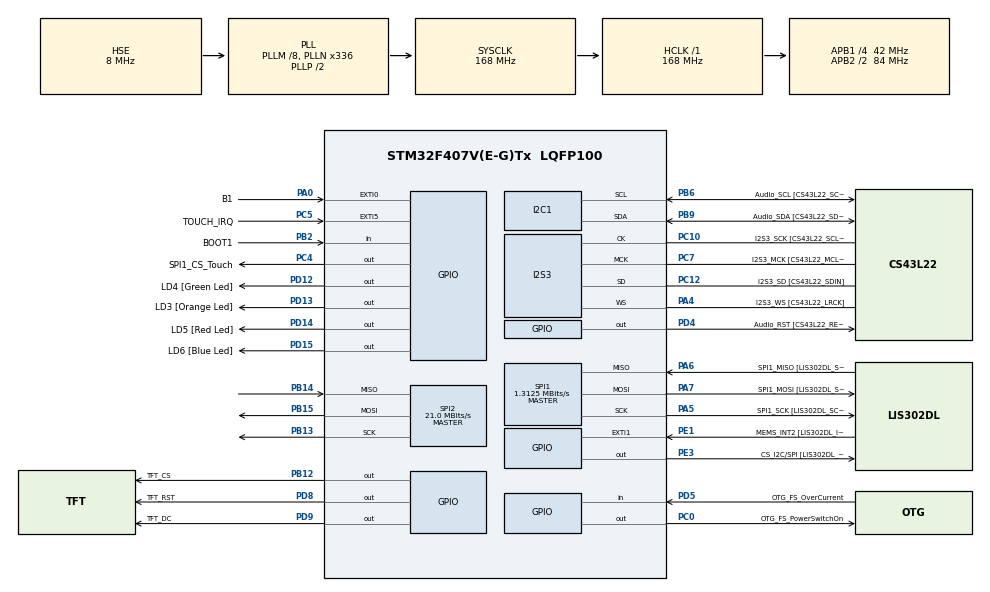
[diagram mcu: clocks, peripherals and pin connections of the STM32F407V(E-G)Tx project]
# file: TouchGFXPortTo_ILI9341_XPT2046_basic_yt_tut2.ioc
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PA11.GPIO_Speed=GPIO_SPEED_FREQ_LOW
PD12.GPIO_Label=LD4 [Green Led]
PH0-OSC_IN.Signal=RCC_OSC_IN
PC10.GPIO_PuPd=GPIO_NOPULL
SPI1.VirtualType=VM_MASTER
PB10.GPIO_PuPd=GPIO_NOPULL
SPI2.VirtualType=VM_MASTER
PA10.GPIO_PuPd=GPIO_NOPULL
PC12.Signal=I2S3_SD
PA14.GPIO_Label=SWCLK
PA6.GPIO_Label=SPI1_MISO [LIS302DL_SDO]
PB6.GPIO_Label=Audio_SCL [CS43L22_SCL]
PB13.Signal=SPI2_SCK
PC15-OSC32_OUT.GPIO_Label=PC15-OSC32_OUT
Dma.SPI2_TX.0.Instance=DMA1_Stream4
PC3.GPIO_Speed=GPIO_SPEED_FREQ_LOW
RCC.SYSCLKSource=RCC_SYSCLKSOURCE_PLLCLK
PA6.GPIO_Mode=GPIO_MODE_AF_PP
PD14.GPIO_Speed=GPIO_SPEED_FREQ_LOW
PA4.Mode=Half_Duplex_Master
SPI1.Direction=SPI_DIRECTION_2LINES
I2S3.AudioFreq-Half_Duplex_Master=I2S_AUDIOFREQ_96K
PD4.Signal=GPIO_Output
RCC.APB2TimFreq_Value=168000000
PB6.Signal=I2C1_SCL
PC7.Signal=I2S3_MCK
PB6.Mode=I2C
SPI1.CalculateBaudRate=1.3125 MBits/s
PC3.Signal=I2S2_SD
PD8.Signal=GPIO_Output
PE1.Signal=GPXTI1
PB2.Signal=GPIO_Input
PB12.GPIO_Label=TFT_CS
I2S3.ErrorAudioFreq=-2.34 %
PC4.GPIO_Label=SPI1_CS_Touch
PB14.Mode=Full_Duplex_Master
PA5.GPIO_PuPd=GPIO_NOPULL
I2S3.ErrorAudioFreq-Half_Duplex_Master=0.8 %
NVIC.TIM2_IRQn=true\:0\:0\:false\:false\:true\:true\:true
SPI2.CalculateBaudRate=21.0 MBits/s
PD5.GPIO_Mode=GPIO_MODE_INPUT
PD14.GPIO_PuPd=GPIO_NOPULL
PB2.GPIO_PuPd=GPIO_NOPULL
SPI1.CalculateBaudRate-Full_Duplex_Master=42.0 MBits/s
Mcu.Package=LQFP100
PB9.Signal=I2C1_SDA
TIM2.Prescaler=41999
SPI2.Mode=SPI_MODE_MASTER
PD12.Signal=GPIO_Output
STMicroelectronics.X-CUBE-TOUCHGFX.4.16.1.ApplicationCcGraphicsJjApplication=TouchGFXOoGenerator
PA10.Signal=USB_OTG_FS_ID
PB9.GPIO_PuPd=GPIO_NOPULL
Dma.SPI2_TX.0.PeriphInc=DMA_PINC_DISABLE
RCC.APB2CLKDivider=RCC_HCLK_DIV2
RCC.APB1TimFreq_Value=84000000
PB13.Mode=Full_Duplex_Master
PC12.GPIO_PuPd=GPIO_NOPULL
PA6.GPIO_Speed=GPIO_SPEED_FREQ_LOW
PA12.GPIO_PuPd=GPIO_NOPULL
PA4.GPIO_Label=I2S3_WS [CS43L22_LRCK]
PD15.Signal=GPIO_Output
PC0.PinState=GPIO_PIN_SET
STMicroelectronics.X-CUBE-TOUCHGFX.4.16.1.tgfx_block_size=25600
PA5.Mode=Full_Duplex_Master
VP_STMicroelectronics.X-CUBE-TOUCHGFX_VS_GraphicsJjApplication_4.16.1.Mode=GraphicsJjApplication
STMicroelectronics.X-CUBE-TOUCHGFX.4.16.1.tgfx_custom_height=240
I2S3.FullDuplexMode=I2S_FULLDUPLEXMODE_DISABLE
PD9.GPIO_Label=TFT_DC
PC4.PinState=GPIO_PIN_SET
PA9.GPIO_Label=VBUS_FS
PB6.GPIO_PuPd=GPIO_NOPULL
PA11.GPIO_Label=OTG_FS_DM
PE1.GPIO_PuPd=GPIO_NOPULL
PC0.Signal=GPIO_Output
RCC.APB1CLKDivider=RCC_HCLK_DIV4
PC14-OSC32_IN.Signal=RCC_OSC32_IN
PA0-WKUP.GPIO_Label=B1
PA0-WKUP.Signal=GPXTI0
PC10.GPIO_Mode=GPIO_MODE_AF_PP
PB10.GPIO_Mode=GPIO_MODE_AF_PP
PA9.Signal=USB_OTG_FS_VBUS
I2S3.VirtualMode=I2S_MODE_MASTER
PC7.GPIO_PuPd=GPIO_NOPULL
PC5.GPIO_ModeDefaultEXTI=GPIO_MODE_IT_FALLING
PB10.Signal=I2S2_CK
PB14.Signal=SPI2_MISO
PA5.Signal=SPI1_SCK
PC12.Mode=Half_Duplex_Master
PE1.GPIO_Label=MEMS_INT2 [LIS302DL_INT2]
PA7.GPIO_Speed=GPIO_SPEED_FREQ_LOW
PB2.GPIO_Mode=GPIO_MODE_INPUT
SPI1.Mode=SPI_MODE_MASTER
PD4.GPIO_Speed=GPIO_SPEED_FREQ_LOW
PE3.GPIO_PuPd=GPIO_NOPULL
PH1-OSC_OUT.GPIO_Label=PH1-OSC_OUT
TIM2.Period=15
PA13.Mode=Serial_Wire
Dma.SPI2_TX.0.FIFOMode=DMA_FIFOMODE_DISABLE
PC7.GPIO_Label=I2S3_MCK [CS43L22_MCLK]
PA4.Signal=I2S3_WS
PC12.GPIO_Mode=GPIO_MODE_AF_PP
PA5.GPIO_Label=SPI1_SCK [LIS302DL_SCL/SPC]
PE3.GPIO_Speed=GPIO_SPEED_FREQ_LOW
PC12.GPIO_Label=I2S3_SD [CS43L22_SDIN]
PA11.Signal=USB_OTG_FS_DM
ProjectManager.HeapSize=0x200
NVIC.PriorityGroup=NVIC_PRIORITYGROUP_0
PE3.Signal=GPIO_Output
PC3.GPIO_Label=PDM_OUT [MP45DT02_DOUT]
I2S3.Instance=SPI$Index
PB6.GPIO_Speed=GPIO_SPEED_FREQ_LOW
SPI1.BaudRatePrescaler-Full_Duplex_Master=SPI_BAUDRATEPRESCALER_2
Mcu.Family=STM32F4
PC3.GPIO_Mode=GPIO_MODE_AF_PP
PA6.Mode=Full_Duplex_Master
Dma.SPI2_TX.0.MemInc=DMA_MINC_ENABLE
RCC.CortexFreq_Value=168000000
PB10.GPIO_Speed=GPIO_SPEED_FREQ_LOW
PB6.GPIO_Mode=GPIO_MODE_AF_OD
STMicroelectronics.X-CUBE-TOUCHGFX.4.16.1.tgfx_buffering_strategy=Partial
PD15.GPIO_Speed=GPIO_SPEED_FREQ_LOW
PC10.Signal=I2S3_CK
PA7.GPIO_Mode=GPIO_MODE_AF_PP
PC0.GPIO_Label=OTG_FS_PowerSwitchOn
PC10.GPIO_Speed=GPIO_SPEED_FREQ_LOW
PA11.GPIO_PuPd=GPIO_NOPULL
NVIC.DMA1_Stream4_IRQn=true\:0\:0\:false\:false\:true\:false\:true
PB15.Signal=SPI2_MOSI
ProjectManager.StackSize=0x400
SPI1.Mode-Full_Duplex_Master=SPI_MODE_MASTER
Dma.SPI2_TX.0.MemDataAlignment=DMA_MDATAALIGN_BYTE
PD13.Signal=GPIO_Output
PA12.Signal=USB_OTG_FS_DP
RCC.HCLKFreq_Value=168000000
Dma.SPI2_TX.0.Mode=DMA_NORMAL
RCC.AHBFreq_Value=168000000
PH0-OSC_IN.Mode=HSE-External-Oscillator
PE3.PinState=GPIO_PIN_SET
PH0-OSC_IN.GPIO_Label=PH0-OSC_IN
PA9.GPIO_Mode=GPIO_MODE_INPUT
RCC.HSE_VALUE=8000000
PA4.GPIO_PuPd=GPIO_NOPULL
PA4.GPIO_Speed=GPIO_SPEED_FREQ_LOW
PA6.GPIO_PuPd=GPIO_NOPULL
PC14-OSC32_IN.Mode=LSE-External-Oscillator
PA14.Mode=Serial_Wire
PA10.GPIO_Label=OTG_FS_ID
PC7.GPIO_Mode=GPIO_MODE_AF_PP
PH1-OSC_OUT.Mode=HSE-External-Oscillator
PD13.GPIO_Label=LD3 [Orange Led]
PA6.Signal=SPI1_MISO
PD5.GPIO_Label=OTG_FS_OverCurrent
PD15.GPIO_PuPd=GPIO_NOPULL
PA10.GPIO_Speed=GPIO_SPEED_FREQ_LOW
PB9.GPIO_Speed=GPIO_SPEED_FREQ_LOW
PC14-OSC32_IN.GPIO_Label=PC14-OSC32_IN
SPI2.Direction=SPI_DIRECTION_2LINES
PC5.Signal=GPXTI5
PC0.GPIO_PuPd=GPIO_NOPULL
Dma.Request0=SPI2_TX
SPI1.BaudRatePrescaler=SPI_BAUDRATEPRESCALER_64
PA12.GPIO_Speed=GPIO_SPEED_FREQ_LOW
PB3.GPIO_Label=SWO
RCC.PLLSourceVirtual=RCC_PLLSOURCE_HSE
PC15-OSC32_OUT.Mode=LSE-External-Oscillator
PD12.GPIO_Speed=GPIO_SPEED_FREQ_LOW
PD15.GPIO_Label=LD6 [Blue Led]
PA7.Mode=Full_Duplex_Master
PB9.GPIO_Label=Audio_SDA [CS43L22_SDA]
PC10.GPIO_Label=I2S3_SCK [CS43L22_SCLK]
PC4.Signal=GPIO_Output
PC10.Mode=Half_Duplex_Master
PD9.Signal=GPIO_Output
PD5.Signal=GPIO_Input
PE1.GPIO_ModeDefaultEXTI=GPIO_MODE_EVT_RISING
PA9.GPIO_PuPd=GPIO_NOPULL
PA12.GPIO_Label=OTG_FS_DP
PD8.GPIO_Label=TFT_RST
PA10.GPIO_Mode=GPIO_MODE_AF_PP
STMicroelectronics.X-CUBE-TOUCHGFX.4.16.1.tgfx_custom_width=320
PA13.Signal=SYS_JTMS-SWDIO
PD4.GPIO_PuPd=GPIO_NOPULL
PC0.GPIO_Speed=GPIO_SPEED_FREQ_LOW
I2S3.RealAudioFreq-Half_Duplex_Master=96.774 KHz
ProjectManager.TargetToolchain=STM32CubeIDE
PB10.GPIO_Label=CLK_IN [MP45DT02_CLK]
PB9.Mode=I2C
PC15-OSC32_OUT.Signal=RCC_OSC32_OUT
PA7.GPIO_PuPd=GPIO_NOPULL
board=STM32F407G-DISC1
PD13.GPIO_Speed=GPIO_SPEED_FREQ_LOW
PC7.GPIO_Speed=GPIO_SPEED_FREQ_LOW
RCC.VCOOutputFreq_Value=336000000
PB15.Mode=Full_Duplex_Master
PB9.GPIO_Mode=GPIO_MODE_AF_OD
PA12.GPIO_Mode=GPIO_MODE_AF_PP
PA4.GPIO_Mode=GPIO_MODE_AF_PP
RCC.APB2Freq_Value=84000000
VP_TIM2_VS_ClockSourceINT.Mode=Internal
PD4.GPIO_Label=Audio_RST [CS43L22_RESET]
Dma.SPI2_TX.0.PeriphDataAlignment=DMA_PDATAALIGN_BYTE
PH1-OSC_OUT.Signal=RCC_OSC_OUT
PD13.GPIO_PuPd=GPIO_NOPULL
PD5.GPIO_PuPd=GPIO_NOPULL
PD14.GPIO_Label=LD5 [Red Led]
Mcu.Name=STM32F407V(E-G)Tx
PA13.GPIO_Label=SWDIO
PD14.Signal=GPIO_Output
RCC.48MHZClocksFreq_Value=48000000
PB3.Signal=SYS_JTDO-SWO
NVIC.EXTI0_IRQn=true\:0\:0\:false\:false\:true\:true\:true
Dma.SPI2_TX.0.Priority=DMA_PRIORITY_LOW
RCC.SYSCLKFreq_VALUE=168000000
PA7.GPIO_Label=SPI1_MOSI [LIS302DL_SDA/SDI/SDO]
PC5.GPIO_Label=TOUCH_IRQ
NVIC.EXTI9_5_IRQn=true\:0\:0\:false\:false\:true\:true\:true
PA14.Signal=SYS_JTCK-SWCLK
PB2.GPIO_Label=BOOT1
RCC.HSI_VALUE=16000000
PA5.GPIO_Speed=GPIO_SPEED_FREQ_LOW
RCC.PLLQ=7
I2S3.RealAudioFreq=93.75 KHz
RCC.PLLM=8
RCC.PLLN=336
PE3.GPIO_Label=CS_I2C/SPI [LIS302DL_CS_I2C/SPI]
PC7.Mode=Master_Clock_Activated
PA11.GPIO_Mode=GPIO_MODE_AF_PP
Dma.SPI2_TX.0.Direction=DMA_MEMORY_TO_PERIPH
RCC.APB1Freq_Value=42000000
PA5.GPIO_Mode=GPIO_MODE_AF_PP
PC12.GPIO_Speed=GPIO_SPEED_FREQ_LOW
VP_CRC_VS_CRC.Mode=CRC_Activate
PB12.Signal=GPIO_Output
PC3.GPIO_PuPd=GPIO_NOPULL
PD12.GPIO_PuPd=GPIO_NOPULL
PA7.Signal=SPI1_MOSI

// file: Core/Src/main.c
/* USER CODE BEGIN Header */
/**
  ******************************************************************************
  * @file           : main.c
  * @brief          : Main program body
  ******************************************************************************
  * @attention
  *
  * <h2><center>&copy; Copyright (c) 2021 STMicroelectronics.
  * All rights reserved.</center></h2>
  *
  * This software component is licensed by ST under Ultimate Liberty license
  * SLA0044, the "License"; You may not use this file except in compliance with
  * the License. You may obtain a copy of the License at:
  *                             www.st.com/SLA0044
  *
  ******************************************************************************
  */
/* USER CODE END Header */
#include "main.h"
#include "crc.h"
#include "dma.h"
#include "i2c.h"
#include "i2s.h"
#include "spi.h"
#include "tim.h"
#include "gpio.h"
#include "app_touchgfx.h"

/* USER CODE BEGIN Includes */
#include "../../Drivers/ili9341/core.h"
#include "../../XPT2046/XPT2046.h"
/* USER CODE END Includes */

void SystemClock_Config(void);

/* USER CODE BEGIN 0 */

extern void touchgfxSignalVSync(void);

void HAL_TIM_PeriodElapsedCallback(TIM_HandleTypeDef *htim)
{
	if (htim->Instance == TIM2) {
		touchgfxSignalVSync();  //i'am dk why but i turned off the vSync in Cube but i still have to get infi :/
	}
}
/* USER CODE END 0 */

int main(void)
{

  /* MCU Configuration--------------------------------------------------------*/

  /* Reset of all peripherals, Initializes the Flash interface and the Systick. */
  HAL_Init();

  /* Configure the system clock */
  SystemClock_Config();

  /* Initialize all configured peripherals */
  MX_GPIO_Init();
  MX_DMA_Init();
  MX_I2C1_Init();
  MX_I2S3_Init();
  MX_SPI1_Init();
  MX_SPI2_Init();
  MX_CRC_Init();
  MX_TIM2_Init();
  MX_TouchGFX_Init();
  /* USER CODE BEGIN 2 */

   ILI9341_Init();
   XPT2046_Init(&hspi1, EXTI9_5_IRQn);
   DoCalibration();

   HAL_TIM_Base_Start_IT(&htim2);
   uint32_t LedTim0;
   touchgfxSignalVSync();
  /* USER CODE END 2 */

  /* Infinite loop */
  /* USER CODE BEGIN WHILE */
  while (1)
  {
	  if(HAL_GetTick()- LedTim0> 100)
		  {
			  LedTim0=HAL_GetTick();
		      HAL_GPIO_TogglePin(LD5_GPIO_Port, LD5_Pin);
		  }

		  XPT2046_Task();

    /* USER CODE END WHILE */

  MX_TouchGFX_Process();
  }
}

void SystemClock_Config(void)
{
  RCC_OscInitTypeDef RCC_OscInitStruct = {0};
  RCC_ClkInitTypeDef RCC_ClkInitStruct = {0};
  RCC_PeriphCLKInitTypeDef PeriphClkInitStruct = {0};

  /** Configure the main internal regulator output voltage
  */
  __HAL_RCC_PWR_CLK_ENABLE();
  __HAL_PWR_VOLTAGESCALING_CONFIG(PWR_REGULATOR_VOLTAGE_SCALE1);
  /** Initializes the RCC Oscillators according to the specified parameters
  * in the RCC_OscInitTypeDef structure.
  */
  RCC_OscInitStruct.OscillatorType = RCC_OSCILLATORTYPE_HSE;
  RCC_OscInitStruct.HSEState = RCC_HSE_ON;
  RCC_OscInitStruct.PLL.PLLState = RCC_PLL_ON;
  RCC_OscInitStruct.PLL.PLLSource = RCC_PLLSOURCE_HSE;
  RCC_OscInitStruct.PLL.PLLM = 8;
  RCC_OscInitStruct.PLL.PLLN = 336;
  RCC_OscInitStruct.PLL.PLLP = RCC_PLLP_DIV2;
  RCC_OscInitStruct.PLL.PLLQ = 7;
  if (HAL_RCC_OscConfig(&RCC_OscInitStruct) != HAL_OK)
  {
    Error_Handler();
  }
  /** Initializes the CPU, AHB and APB buses clocks
  */
  RCC_ClkInitStruct.ClockType = RCC_CLOCKTYPE_HCLK|RCC_CLOCKTYPE_SYSCLK
                              |RCC_CLOCKTYPE_PCLK1|RCC_CLOCKTYPE_PCLK2;
  RCC_ClkInitStruct.SYSCLKSource = RCC_SYSCLKSOURCE_PLLCLK;
  RCC_ClkInitStruct.AHBCLKDivider = RCC_SYSCLK_DIV1;
  RCC_ClkInitStruct.APB1CLKDivider = RCC_HCLK_DIV4;
  RCC_ClkInitStruct.APB2CLKDivider = RCC_HCLK_DIV2;

  if (HAL_RCC_ClockConfig(&RCC_ClkInitStruct, FLASH_LATENCY_5) != HAL_OK)
  {
    Error_Handler();
  }
  PeriphClkInitStruct.PeriphClockSelection = RCC_PERIPHCLK_I2S;
  PeriphClkInitStruct.PLLI2S.PLLI2SN = 192;
  PeriphClkInitStruct.PLLI2S.PLLI2SR = 2;
  if (HAL_RCCEx_PeriphCLKConfig(&PeriphClkInitStruct) != HAL_OK)
  {
    Error_Handler();
  }
}

/* USER CODE BEGIN 4 */
volatile uint32_t userButtonPressed = 0;

void HAL_GPIO_EXTI_Callback(uint16_t GPIO_Pin)
{
	if(GPIO_Pin == TOUCH_IRQ_Pin)
	{
		XPT2046_IRQ();
	}
	if (GPIO_Pin == GPIO_PIN_0)
	{
	userButtonPressed = 1;
	}
}

/* USER CODE END 4 */

void Error_Handler(void)
{
  __disable_irq();
  while (1)
  {
  }
}

/************************ (C) COPYRIGHT STMicroelectronics *****END OF FILE****/
